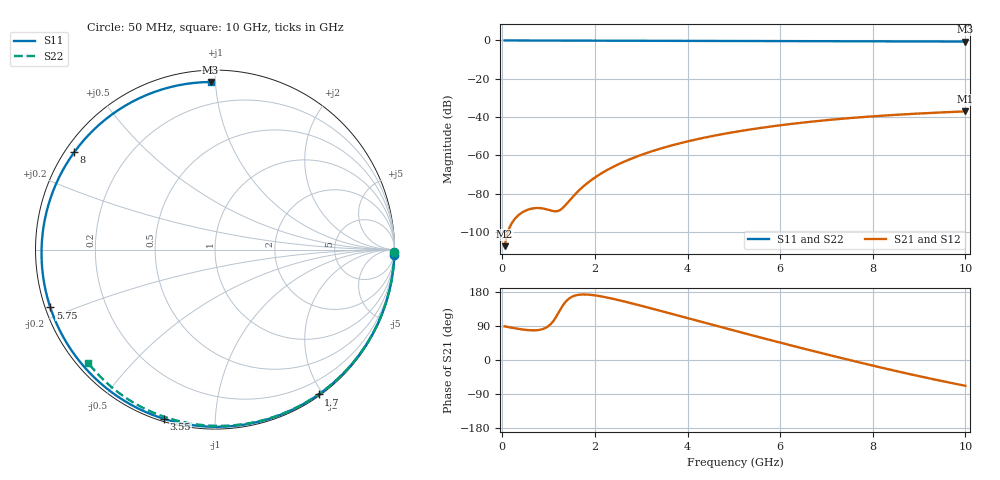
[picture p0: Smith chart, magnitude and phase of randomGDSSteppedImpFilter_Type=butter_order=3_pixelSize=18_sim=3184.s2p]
! freq	dB(S11)	phase(S11)	dB(S12)	phase(S12)
!  dB(S21)	phase(S21)	dB(S22)	phase(S22)
!S-par simulation data
#  GHz  S  DB  R 50
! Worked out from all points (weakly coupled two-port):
!   200 points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, 50 MHz to 10 GHz, reference 50 ohm
!   highest |S21| = -37.05 dB at 10 GHz (marker M1); lowest = -107.5 dB at 50 MHz (marker M2)
!   lowest |S11| = -0.6 dB at 10 GHz (marker M3), VSWR 29.37, Z = 3.31 + j48.6 ohm
!   |S11| at or under -10 dB: nowhere
!   |S22| runs from -0.5 to 0.0 dB; largest |S21 - S12| = 0
!   S11 on the Smith chart (normalised r, x): 50 MHz: 0, -69; 1.7 GHz: 0.02, -1.94; 3.55 GHz: 0.01, -0.74; 5.75 GHz: 0.01, -0.17; 8 GHz: 0.03, +0.31; 10 GHz: 0.07, +0.97
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0.05  -0.00 -1.7  -107.47 88.9  -107.47 88.9  -0.00 -0.8
0.4  -0.02 -13.2  -90.32 81.2  -90.32 81.2  -0.01 -6.4
0.75  -0.03 -24.5  -87.54 78.7  -87.54 78.7  -0.02 -11.9
1.55  -0.06 -49.9  -80.94 169.2  -80.94 169.2  -0.03 -24.5
1.6  -0.06 -51.4  -79.67 170.9  -79.67 170.9  -0.03 -25.3
1.7  -0.07 -54.4  -77.32 172.7  -77.32 172.7  -0.03 -26.8
1.75  -0.07 -56.0  -76.25 172.9  -76.25 172.9  -0.04 -27.6
2.05  -0.08 -65.0  -70.80 169.7  -70.80 169.7  -0.04 -32.2
2.45  -0.09 -76.6  -65.36 159.8  -65.36 159.8  -0.05 -38.3
2.9  -0.11 -89.3  -60.69 146.3  -60.69 146.3  -0.06 -45.1
3.4  -0.13 -102.8  -56.62 130.2  -56.62 130.2  -0.07 -52.5
3.55  -0.13 -106.7  -55.56 125.3  -55.56 125.3  -0.07 -54.7
4.25  -0.16 -124.6  -51.37 102.3  -51.37 102.3  -0.09 -64.8
5.05  -0.20 -144.1  -47.68 76.2  -47.68 76.2  -0.12 -75.9
5.75  -0.24 -160.6  -45.12 53.8  -45.12 53.8  -0.14 -85.4
6.25  -0.27 -172.4  -43.58 38.0  -43.58 38.0  -0.17 -91.9
6.7  -0.31 177.0  -42.37 24.1  -42.37 24.1  -0.19 -97.8
7.35  -0.36 161.4  -40.87 4.4  -40.87 4.4  -0.23 -106.0
8  -0.41 145.4  -39.64 -14.8  -39.64 -14.8  -0.28 -114.1
8.35  -0.44 136.5  -39.07 -24.8  -39.07 -24.8  -0.30 -118.4
9.2  -0.52 114.0  -37.92 -48.0  -37.92 -48.0  -0.38 -128.7
10  -0.59 91.5  -37.05 -68.1  -37.05 -68.1  -0.47 -138.4
